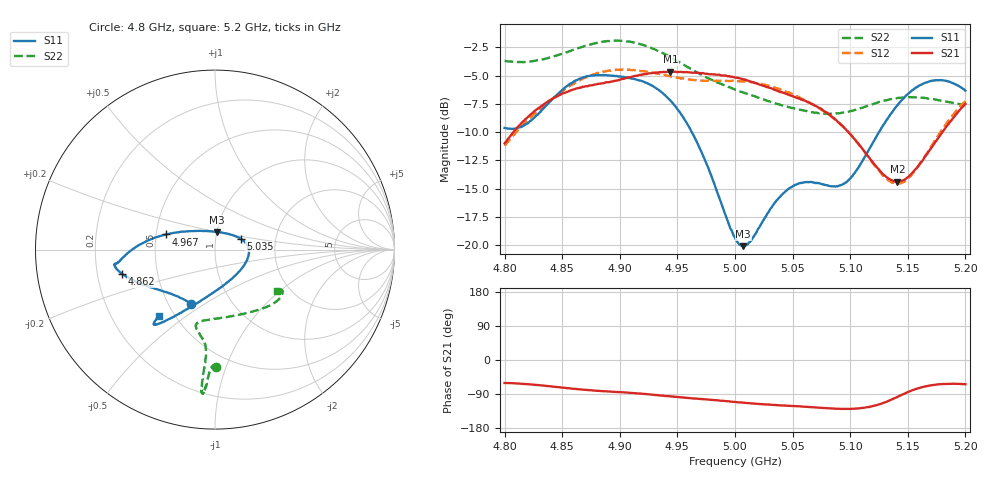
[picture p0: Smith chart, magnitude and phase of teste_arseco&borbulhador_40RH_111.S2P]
! Network Analyzer HP8722D
! Hewlett-Packard
! Data name: Linha & Wilkinson
! Saver's name: Rodrigo Anjos
! Comments: Teste da utilização de aquisição
! continua pelo VNA HP8722D
! Time and date: 15/4/2025 17:16
!  Frequency  S11  S21  S12  S22
# HZ  S  MA R 50
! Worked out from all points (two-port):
!   401 points, 4.8 GHz to 5.2 GHz, reference 50 ohm
!   highest |S21| = -4.64 dB at 4.944 GHz (marker M1); lowest = -14.4 dB at 5.141 GHz (marker M2)
!   |S21| within 3 dB of the highest: 4.832 GHz to 5.069 GHz (237 MHz wide, 4.79 % of centre); 5.198606 GHz to end of sweep
!   lowest |S11| = -20.1 dB at 5.007 GHz (marker M3), VSWR 1.22, Z = 50.1 + j9.93 ohm
!   |S11| at or under -10 dB: 4.962 GHz to 5.125 GHz (162.5 MHz wide, 3.22 % of centre)
!   |S22| runs from -8.4 to -1.9 dB; largest |S21 - S12| = 0.88
!   S11 on the Smith chart (normalised r, x): 4.8 GHz: 0.65, -0.44; 4.862 GHz: 0.31, -0.12; 4.967 GHz: 0.57, +0.10; 5.035 GHz: 1.32, +0.17; 5.2 GHz: 0.41, -0.40
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4.8e9  0.3301 -113.5  0.2819 -60.7  0.2751 -175.0  0.6547 -89.5
4.819e9  0.344 -133.4  0.3642 -63.6  0.3522 -173.1  0.6485 -91.1
4.862e9  0.5359 -165.5  0.4935 -76.4  0.5269 -176.3  0.7411 -93.5
4.867e9  0.5497 -167.4  0.4999 -78.1  0.5422 -177.2  0.7533 -93.6
4.9e9  0.5579 -171.9  0.5399 -84.8  0.5987 176.0  0.8031 -95.0
4.934e9  0.4852 -177.9  0.5823 -93.1  0.5728 172.1  0.72 -95.5
4.944e9  0.4361 177.6  0.5862 -96.1  0.5579 172.0  0.6786 -95.3
4.967e9  0.2851 162.8  0.5793 -101.9  0.5357 174.2  0.5814 -95.0
5e9  0.1075 107.8  0.552 -110.8  0.5333 176.6  0.4881 -99.3
5.007e9  0.09877 84.0  0.5421 -112.5  0.5304 176.5  0.4738 -100.8
5.015e9  0.1067 59.2  0.5263 -114.6  0.5255 176.1  0.4591 -102.4
5.035e9  0.155 23.4  0.4857 -118.7  0.4973 175.0  0.4241 -103.9
5.05e9  0.1819 7.4  0.4568 -121.5  0.4647 174.5  0.4043 -100.2
5.067e9  0.1898 -11.0  0.4202 -124.6  0.4222 174.0  0.3877 -92.0
5.087e9  0.1814 -43.4  0.3599 -128.8  0.3581 173.8  0.3809 -77.0
5.098e9  0.1928 -66.7  0.3185 -128.9  0.3169 174.6  0.389 -67.7
5.134e9  0.3728 -116.0  0.1958 -107.1  0.1922 -159.8  0.4415 -43.3
5.141e9  0.4162 -119.8  0.1906 -97.2  0.1877 -148.9  0.4475 -40.2
5.152e9  0.4759 -124.3  0.2041 -82.3  0.2008 -131.4  0.4514 -36.2
5.17e9  0.5329 -128.3  0.2676 -66.8  0.272 -113.0  0.4441 -32.0
5.184e9  0.532 -129.7  0.3374 -62.9  0.3487 -107.1  0.4314 -31.0
5.2e9  0.4826 -130.2  0.4216 -63.9  0.4336 -105.9  0.4154 -33.4
